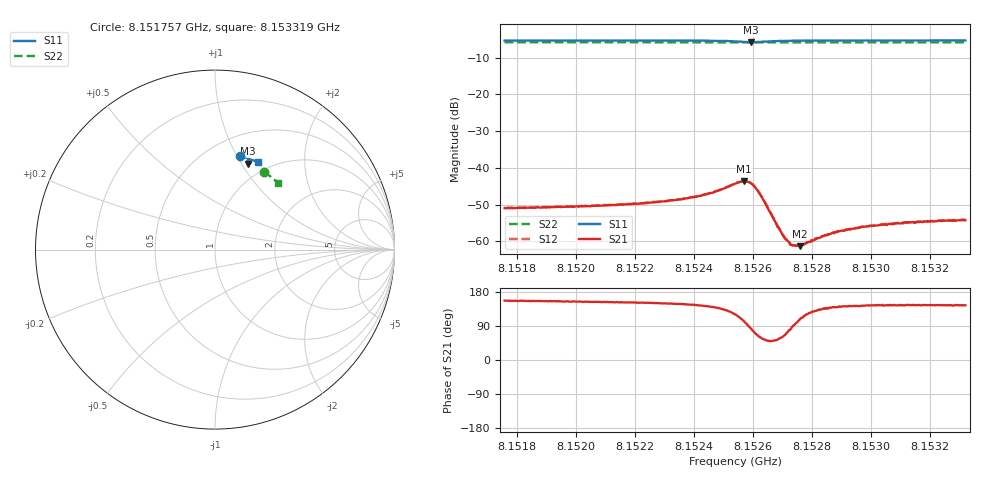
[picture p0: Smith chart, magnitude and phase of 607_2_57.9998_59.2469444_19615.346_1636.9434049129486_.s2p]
#  HZ  S  RI  R  50.00
! Rohde & Schwarz Vector Network Analyzer
! Rohde-Schwarz,ZNB20-2Port,1311601062101988,3.16
! Created: UTC 3/21/2024, 1:17:28 AM
! freq[Hz]  re:S11  im:S11  re:S21  im:S21  re:S12  im:S12  re:S22  im:S22
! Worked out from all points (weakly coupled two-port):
!   401 points, 8.151757 GHz to 8.153319 GHz, reference 50 ohm
!   highest |S21| = -43.60 dB at 8.152569 GHz (marker M1); lowest = -61.3 dB at 8.152757 GHz (marker M2)
!   lowest |S11| = -5.8 dB at 8.152593 GHz (marker M3), VSWR 3.11, Z = 41.2 + j53.6 ohm
!   |S11| at or under -10 dB: nowhere
!   |S22| runs from -5.8 to -5.8 dB; largest |S21 - S12| = 0.00012
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8.1517571e9  0.1412 0.5214  -0.0026 0.00112  -0.00261 0.00119  0.274 0.4329
8.1520187e9  0.1595 0.5164  -0.00268 0.00133  -0.00271 0.00136  0.2876 0.4231
8.1522804e9  0.1787 0.5099  -0.00297 0.00174  -0.003 0.00178  0.3012 0.4133
8.152417e9  0.1903 0.5042  -0.00337 0.00246  -0.00338 0.00253  0.3082 0.4078
8.1524678e9  0.1951 0.5003  -0.00356 0.0031  -0.00356 0.00315  0.3108 0.4056
8.1525381e9  0.1997 0.488  -0.00313 0.00523  -0.00308 0.00532  0.3141 0.4025
8.1525693e9  0.1945 0.4797  -0.00134 0.00647  -0.00128 0.00655  0.3153 0.401
8.1525928e9  0.1852 0.4789  0.00083 0.00609  0.000896 0.00612  0.316 0.4003
8.1526084e9  0.1804 0.483  0.00188 0.00498  0.00191 0.00502  0.3167 0.3999
8.152624e9  0.1785 0.4883  0.00217 0.0037  0.0023 0.00372  0.3174 0.3996
8.1526826e9  0.186 0.4997  0.000932 0.00126  0.000988 0.00131  0.3207 0.3977
8.152706e9  0.1895 0.5008  0.000467 0.00103  0.000481 0.00101  0.3218 0.3965
8.1527255e9  0.1922 0.5013  0.000155 0.000886  0.000173 0.000903  0.323 0.3956
8.1527334e9  0.1932 0.5014  1.82e-05 0.000887  2.4e-05 0.00088  0.3233 0.3954
8.1527568e9  0.196 0.5015  -0.00024 0.000828  -0.000231 0.00085  0.3245 0.3945
8.1527997e9  0.2004 0.5008  -0.000631 0.000808  -0.000615 0.000828  0.3266 0.3927
8.1528388e9  0.2041 0.5  -0.000859 0.00082  -0.000828 0.000852  0.3286 0.3911
8.1528935e9  0.2088 0.4988  -0.00108 0.000858  -0.00108 0.000884  0.3311 0.3888
8.1529755e9  0.2151 0.4967  -0.00128 0.000947  -0.00127 0.000949  0.335 0.3852
8.1530614e9  0.2213 0.4943  -0.0014 0.00102  -0.0014 0.00101  0.339 0.3816
8.1531239e9  0.2256 0.4925  -0.00151 0.00103  -0.00143 0.00109  0.3422 0.3787
8.1533191e9  0.2386 0.4869  -0.00158 0.00114  -0.00158 0.00117  0.351 0.3703
